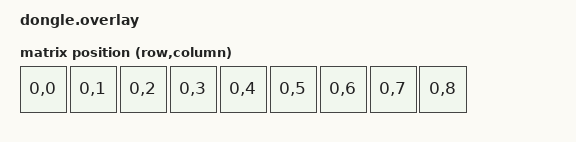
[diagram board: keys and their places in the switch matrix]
#include <dt-bindings/zmk/matrix_transform.h>
#include <physical_layouts.dtsi>

/ {
    chosen {
        /* ZMK needs this to know keymap size */
        zmk,matrix-transform = <&default_transform>;

        /* Your tree is compiling physical_layouts.c, so give it one layout */
        zmk,physical-layout = <&pl0>;
    };

    /*
     * 1 row x 9 cols example.
     * Make columns match how many “positions” you want in your keymap.
     * (Use the same number on dongle + mouse to keep them consistent.)
     */
    default_transform: default {
        compatible = "zmk,matrix-transform";
        rows = <1>;
        columns = <9>;
        map = <
            RC(0,0) RC(0,1) RC(0,2) RC(0,3)
            RC(0,4) RC(0,5) RC(0,6) RC(0,7)
            RC(0,8)
        >;
    };

    /*
     * Minimal physical layout so physical_layouts.c can generate layouts[]
     * The keys list length should match rows*columns (9 here).
     */
    pl0: physical_layout0 {
        compatible = "zmk,physical-layout";
        display-name = "mouse-layout";
        transform = <&default_transform>;

        keys =
            <&key_physical_attrs 100 100   0   0  0 0 0>,
            <&key_physical_attrs 100 100 100   0  0 0 0>,
            <&key_physical_attrs 100 100 200   0  0 0 0>,
            <&key_physical_attrs 100 100 300   0  0 0 0>,
            <&key_physical_attrs 100 100 400   0  0 0 0>,
            <&key_physical_attrs 100 100 500   0  0 0 0>,
            <&key_physical_attrs 100 100 600   0  0 0 0>,
            <&key_physical_attrs 100 100 700   0  0 0 0>,
            <&key_physical_attrs 100 100 800   0  0 0 0>;
    };
    esb_split {
        compatible = "zmk,esb-split";
        base-addr-0 = <0xE7 0xE7 0xE7 0xE7>;
        base-addr-1 = <0xC2 0xC2 0xC2 0xC2>;
        addr-prefix = <0xE7 0xC2 0xC3 0xC4 0xC5 0xC6 0xC7 0xC8>;
    };
};

